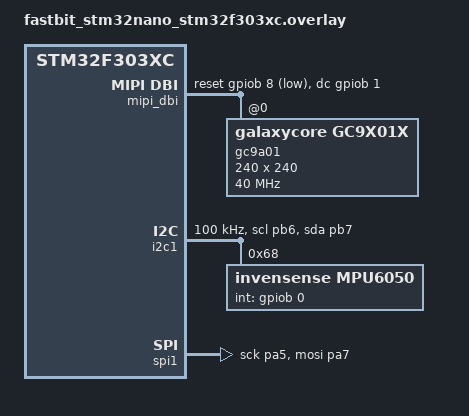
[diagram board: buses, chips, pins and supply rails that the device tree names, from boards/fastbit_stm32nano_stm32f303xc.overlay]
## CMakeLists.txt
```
#-------------------------------------------------------------------------------
# Zephyr Example Application
#
# Copyright (c) 2021 Nordic Semiconductor ASA
# SPDX-License-Identifier: Apache-2.0

cmake_minimum_required(VERSION 3.13.1)
find_package(Zephyr REQUIRED HINTS $ENV{ZEPHYR_BASE})

project(app LANGUAGES C)

target_sources(app PRIVATE
    src/main.c
    src/game.c
    src/display.c
    src/input.c
    src/util.c
)
```

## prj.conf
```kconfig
# Copyright (c) 2021 Nordic Semiconductor ASA
# SPDX-License-Identifier: Apache-2.0
#
# This file contains selected Kconfig options for the application.

CONFIG_UART_CONSOLE=y
CONFIG_STDOUT_CONSOLE=y

# Display stack
CONFIG_SPI=y
CONFIG_MIPI_DBI=y
CONFIG_GC9X01X=y
CONFIG_DISPLAY=y

# Sensor stack
CONFIG_I2C=y
CONFIG_SENSOR=y
CONFIG_MPU6050=y

# Logging
CONFIG_LOG=y
CONFIG_APP_LOG_LEVEL_INF=y

# Heap
CONFIG_HEAP_MEM_POOL_SIZE=2048

# Main thread stack — needs room for display/sensor calls
CONFIG_MAIN_STACK_SIZE=4096
```

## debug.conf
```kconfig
# Copyright (c) 2021 Nordic Semiconductor ASA
# SPDX-License-Identifier: Apache-2.0
#
# This is a Kconfig fragment which can be used to enable debug-related options
# in the application. See the README for more details.

# compiler
CONFIG_DEBUG_OPTIMIZATIONS=y

# logging
CONFIG_LOG=y
CONFIG_APP_LOG_LEVEL_DBG=y
CONFIG_SENSOR_LOG_LEVEL_DBG=y
```

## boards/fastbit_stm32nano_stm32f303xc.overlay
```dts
#include <zephyr/dt-bindings/display/panel.h>
#include <zephyr/dt-bindings/i2c/i2c.h>

&i2c1 {
	pinctrl-0 = <&i2c1_scl_pb6 &i2c1_sda_pb7>;
	pinctrl-names = "default";
	status = "okay";
	clock-frequency = <I2C_BITRATE_STANDARD>;

	mpu6050: mpu6050@68 {
		compatible = "invensense,mpu6050";
		reg = <0x68>;
		int-gpios = <&gpiob 0 GPIO_ACTIVE_HIGH>;
	};
};


&spi1 {
	pinctrl-0 = <&spi1_sck_pa5 &spi1_mosi_pa7>;
	pinctrl-names = "default";
	status = "okay";
	cs-gpios = <&gpioa 4 GPIO_ACTIVE_LOW>;
};

/ {
	chosen {
		zephyr,display = &gc9a01;
	};

	mipi_dbi: mipi-dbi {
		compatible = "zephyr,mipi-dbi-spi";
		spi-dev = <&spi1>;
		dc-gpios    = <&gpiob 1 GPIO_ACTIVE_HIGH>;
		reset-gpios = <&gpiob 8 GPIO_ACTIVE_LOW>;
		write-only;
		#address-cells = <1>;
		#size-cells = <0>;

		gc9a01: gc9a01@0 {
			compatible = "galaxycore,gc9x01x";
			reg = <0>;
			mipi-max-frequency = <DT_FREQ_M(40)>;
			pixel-format = <PANEL_PIXEL_FORMAT_RGB_565>;
			width  = <240>;
			height = <240>;
			display-inversion;
		};
	};
};
```

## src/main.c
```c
#include <zephyr/kernel.h>
#include <zephyr/logging/log.h>

#include "game.h"
#include "display.h"
#include "input.h"

LOG_MODULE_REGISTER(main, CONFIG_APP_LOG_LEVEL);

#define FRAME_MS             33   /* ~30 FPS */
#define LIFE_LOST_PAUSE_MS   1500
#define TITLE_DISPLAY_MS     2000

static void run_countdown(void)
{
    /* Draw digits below the title using the dedicated countdown slot so the
     * title text is never cleared or distorted. */
    display_draw_countdown("3");  k_msleep(1000);
    display_draw_countdown("2");  k_msleep(1000);
    display_draw_countdown("1");  k_msleep(1000);
    display_draw_countdown("GO"); k_msleep(600);
    display_clear_screen();
}

int main(void)
{
    LOG_INF("Brick Breaker starting");

    display_init();
    input_init();

    /* Title screen */
    display_draw_start_screen();
    k_msleep(TITLE_DISPLAY_MS);

    /* Countdown */
    run_countdown();

    /* Game setup */
    GameState gs;
    game_init(&gs);

    display_draw_all_bricks(gs.bricks);
    display_draw_score(gs.score, gs.lives);
    display_draw_paddle(gs.paddle.y, gs.paddle.y);
    display_draw_ball(gs.ball.x, gs.ball.y, gs.ball.x, gs.ball.y);

    int16_t old_ball_x   = gs.ball.x;
    int16_t old_ball_y   = gs.ball.y;
    int16_t old_paddle_y = gs.paddle.y;

    while (true) {
        int8_t delta = input_get_paddle_delta();
        GameEvent ev = game_update(&gs, delta);

        /* Redraw paddle if it moved */
        if (gs.paddle.y != old_paddle_y) {
            display_draw_paddle(gs.paddle.y, old_paddle_y);
            old_paddle_y = gs.paddle.y;
        }

        /* Redraw ball */
        display_draw_ball(gs.ball.x, gs.ball.y, old_ball_x, old_ball_y);
        old_ball_x = gs.ball.x;
        old_ball_y = gs.ball.y;

        switch (ev) {
        case EV_BRICK_HIT:
            display_draw_brick(gs.last_brick_row, gs.last_brick_col, false);
            display_draw_score(gs.score, gs.lives);
            break;

        case EV_LIFE_LOST:
            display_draw_score(gs.score, gs.lives);
            display_draw_message("READY");
            k_msleep(LIFE_LOST_PAUSE_MS);
            /* Clear message and redraw paddle/ball at reset positions */
            display_draw_message("     ");
            display_draw_paddle(gs.paddle.y, old_paddle_y);
            display_draw_ball(gs.ball.x, gs.ball.y, old_ball_x, old_ball_y);
            old_paddle_y = gs.paddle.y;
            old_ball_x   = gs.ball.x;
            old_ball_y   = gs.ball.y;
            gs.state = GAME_PLAYING;
            break;

        case EV_GAME_OVER:
            LOG_INF("Game over. Score: %d", gs.score);
            display_draw_end_screen(false, gs.score);
            k_sleep(K_FOREVER);
            break;

        case EV_GAME_WIN:
            LOG_INF("You win! Score: %d", gs.score);
            display_draw_end_screen(true, gs.score);
            k_sleep(K_FOREVER);
            break;

        default:
            break;
        }

        k_msleep(FRAME_MS);
    }

    return 0;
}
```

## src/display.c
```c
#include "display.h"
#include "util.h"

#include <zephyr/kernel.h>
#include <zephyr/drivers/display.h>
#include <zephyr/logging/log.h>
#include <string.h>

LOG_MODULE_REGISTER(display_mod, CONFIG_APP_LOG_LEVEL);

/* -------------------------------------------------------------------------
 * 5x7 pixel font — characters: 0-9, space, A-Z subset used for messages
 * Each entry is 5 bytes; bit 7 of byte 0 = top-left pixel.
 * Row order: byte[0]=row0 ... byte[4]=row6 (7 rows, 5 cols per row)
 * ------------------------------------------------------------------------- */
#define FONT_CHAR_W  5
#define FONT_CHAR_H  7
#define FONT_SCALE   2   /* render each pixel as 2x2 for readability */

static const uint8_t font5x7[][FONT_CHAR_W] = {
    /* 0 */ {0x7E, 0x51, 0x49, 0x45, 0x7E},
    /* 1 */ {0x00, 0x42, 0x7F, 0x40, 0x00},
    /* 2 */ {0x42, 0x61, 0x51, 0x49, 0x46},
    /* 3 */ {0x21, 0x41, 0x45, 0x4B, 0x31},
    /* 4 */ {0x18, 0x14, 0x12, 0x7F, 0x10},
    /* 5 */ {0x27, 0x45, 0x45, 0x45, 0x39},
    /* 6 */ {0x3C, 0x4A, 0x49, 0x49, 0x30},
    /* 7 */ {0x01, 0x71, 0x09, 0x05, 0x03},
    /* 8 */ {0x36, 0x49, 0x49, 0x49, 0x36},
    /* 9 */ {0x06, 0x49, 0x49, 0x29, 0x1E},
    /* ' ' (10) */ {0x00, 0x00, 0x00, 0x00, 0x00},
    /* A  (11) */ {0x7C, 0x12, 0x11, 0x12, 0x7C},
    /* E  (12) */ {0x7F, 0x49, 0x49, 0x49, 0x41},
    /* G  (13) */ {0x3E, 0x41, 0x49, 0x49, 0x7A},
    /* I  (14) */ {0x00, 0x41, 0x7F, 0x41, 0x00},
    /* M  (15) */ {0x7F, 0x02, 0x0C, 0x02, 0x7F},
    /* N  (16) */ {0x7F, 0x04, 0x08, 0x10, 0x7F},
    /* O  (17) */ {0x3E, 0x41, 0x41, 0x41, 0x3E},
    /* R  (18) */ {0x7F, 0x09, 0x19, 0x29, 0x46},
    /* S  (19) */ {0x46, 0x49, 0x49, 0x49, 0x31},
    /* U  (20) */ {0x3F, 0x40, 0x40, 0x40, 0x3F},
    /* V  (21) */ {0x1F, 0x20, 0x40, 0x20, 0x1F},
    /* W  (22) */ {0x3F, 0x40, 0x38, 0x40, 0x3F},
    /* Y  (23) */ {0x07, 0x08, 0x70, 0x08, 0x07},
    /* B  (24) */ {0x7F, 0x49, 0x49, 0x49, 0x36},
    /* C  (25) */ {0x3E, 0x41, 0x41, 0x41, 0x22},
    /* K  (26) */ {0x7F, 0x08, 0x14, 0x22, 0x41},
    /* D  (27) */ {0x7F, 0x41, 0x41, 0x41, 0x3E},
};

/* Map ASCII character to font table index, -1 if not available */
static int char_to_idx(char c)
{
    if (c >= '0' && c <= '9') return c - '0';
    switch (c) {
    case ' ': return 10;
    case 'A': return 11;
    case 'E': return 12;
    case 'G': return 13;
    case 'I': return 14;
    case 'M': return 15;
    case 'N': return 16;
    case 'O': return 17;
    case 'R': return 18;
    case 'S': return 19;
    case 'U': return 20;
    case 'V': return 21;
    case 'W': return 22;
    case 'Y': return 23;
    case 'B': return 24;
    case 'C': return 25;
    case 'K': return 26;
    case 'D': return 27;
    default:  return 10; /* space for unknown */
    }
}

/* -------------------------------------------------------------------------
 * Internal state
 * ------------------------------------------------------------------------- */
static const struct device *disp;

/* Static strip buffer: 240 px wide, 16 px tall, RGB565 (7680 bytes) */
#define STRIP_H   16
static uint8_t strip_buf[SCREEN_W * STRIP_H * 2];

/* -------------------------------------------------------------------------
 * fill_rect — write a solid colour rectangle to the display
 * Uses a small stack buffer for narrow rects, strip_buf for wide ones.
 * ------------------------------------------------------------------------- */
static void fill_rect(int16_t x, int16_t y, int16_t w, int16_t h,
                      uint16_t color)
{
    if (w <= 0 || h <= 0) {
        return;
    }

    /* For narrow rects use a static buffer (single-threaded display) */
    if ((uint32_t)w * h * 2 <= 1024U) {
        static uint8_t buf[1024];
        uint16_t be = ((color >> 8) & 0xFF) | ((color & 0xFF) << 8);

        for (int i = 0; i < w * h; i++) {
            buf[i * 2]     = (uint8_t)(be >> 8);
            buf[i * 2 + 1] = (uint8_t)(be & 0xFF);
        }

        struct display_buffer_descriptor desc = {
            .buf_size = (uint32_t)w * h * 2,
            .width    = w,
            .height   = h,
            .pitch    = w,
        };
        display_write(disp, x, y, &desc, buf);
        return;
    }

    /* For wider/taller rects render in STRIP_H-row strips */
    uint16_t be = ((color >> 8) & 0xFF) | ((color & 0xFF) << 8);
    for (int i = 0; i < w * STRIP_H; i++) {
        strip_buf[i * 2]     = (uint8_t)(be >> 8);
        strip_buf[i * 2 + 1] = (uint8_t)(be & 0xFF);
    }

    int16_t rows_done = 0;
    while (rows_done < h) {
        int16_t rows = (h - rows_done < STRIP_H) ? (h - rows_done) : STRIP_H;
        struct display_buffer_descriptor desc = {
            .buf_size = (uint32_t)w * rows * 2,
            .width    = w,
            .height   = rows,
            .pitch    = w,
        };
        display_write(disp, x, y + rows_done, &desc, strip_buf);
        rows_done += rows;
    }
}

/* -------------------------------------------------------------------------
 * Public API
 * ------------------------------------------------------------------------- */

void display_init(void)
{
    disp = DEVICE_DT_GET(DT_CHOSEN(zephyr_display));
    if (!device_is_ready(disp)) {
        LOG_ERR("Display not ready");
        return;
    }
    display_blanking_off(disp);
    LOG_INF("Display ready");
}

void display_clear_screen(void)
{
    fill_rect(0, 0, SCREEN_W, SCREEN_H, COLOR_BLACK);
}

void display_draw_brick(int row, int col, bool active)
{
    int16_t x = BRICK_LEFT_X + col * (BRICK_W + BRICK_GAP);
    int16_t y = BRICK_TOP_Y  + row * (BRICK_H + BRICK_GAP);
    uint16_t color = active ? brick_row_color(row) : COLOR_BLACK;
    fill_rect(x, y, BRICK_W, BRICK_H, color);
}

void display_draw_all_bricks(const Brick bricks[BRICK_ROWS][BRICK_COLS])
{
    for (int r = 0; r < BRICK_ROWS; r++) {
        for (int c = 0; c < BRICK_COLS; c++) {
            display_draw_brick(r, c, bricks[r][c].active);
        }
    }
}

void display_draw_paddle(int16_t y, int16_t old_y)
{
    /* Erase old position, draw new position (paddle is vertical, fixed at PADDLE_X) */
    fill_rect(PADDLE_X, old_y, PADDLE_W, PADDLE_H, COLOR_BLACK);
    fill_rect(PADDLE_X, y,     PADDLE_W, PADDLE_H, COLOR_WHITE);
}

void display_draw_ball(int16_t x, int16_t y, int16_t old_x, int16_t old_y)
{
    /* Erase old position, clipped so it never overwrites the score bar */
    int16_t ey = (old_y < SCORE_BAR_H) ? SCORE_BAR_H : old_y;
    int16_t eh = BALL_H - (ey - old_y);
    if (eh > 0) {
        fill_rect(old_x, ey, BALL_W, eh, COLOR_BLACK);
    }
    fill_rect(x, y, BALL_W, BALL_H, COLOR_YELLOW);
}

/* Draw a single character at pixel position (px, py) in given colour.
 * Font encoding: each byte is a column (col 0 = leftmost), bit 0 = top row. */
static void draw_char(int16_t px, int16_t py, char c, uint16_t color)
{
    int idx = char_to_idx(c);

    for (int row = 0; row < FONT_CHAR_H; row++) {
        for (int col = 0; col < FONT_CHAR_W; col++) {
            if (font5x7[idx][col] & (1 << row)) {
                fill_rect(px + col * FONT_SCALE,
                          py + row * FONT_SCALE,
                          FONT_SCALE, FONT_SCALE, color);
            }
        }
    }
}

void display_draw_score(uint16_t score, uint8_t lives)
{
    /* Clear score bar content (separator at the bottom is redrawn below) */
    fill_rect(0, 0, SCREEN_W, SCORE_BAR_H - 2, COLOR_BLACK);

    /* 1.28" GC9A01: at cy=28 the circle is ~154 px wide (x≈43..197).
     * Layout uses x=44..164 for "SCORE XXXX" and x=166..194 for life dots.
     * Even with a 4-digit score the text ends at x=164, lives start at x=166. */
    int16_t cy = 28;
    int16_t cx = 44;
    int char_step = (FONT_CHAR_W + 1) * FONT_SCALE;

    /* Draw "SCORE " label */
    const char label[] = "SCORE ";
    for (int i = 0; label[i] != '\0'; i++) {
        draw_char(cx, cy, label[i], COLOR_WHITE);
        cx += char_step;
    }

    /* Draw up to 4 digits, skip leading zeros except the last */
    char buf[5];
    buf[0] = '0' + (score / 1000) % 10;
    buf[1] = '0' + (score /  100) % 10;
    buf[2] = '0' + (score /   10) % 10;
    buf[3] = '0' + (score       ) % 10;
    buf[4] = '\0';

    int start = 0;
    while (start < 3 && buf[start] == '0') {
        start++;
    }
    for (int i = start; i < 4; i++) {
        draw_char(cx, cy, buf[i], COLOR_WHITE);
        cx += char_step;
    }

    /* Life dots: 3 × 8-px squares at x=166, 177, 188.
     * Rightmost pixel x=195 < circle right-edge 197 at y=28.  */
    for (int i = 0; i < lives && i < INIT_LIVES; i++) {
        fill_rect(166 + i * 11, cy, 8, 8, COLOR_GREEN);
    }
    for (int i = lives; i < INIT_LIVES; i++) {
        fill_rect(166 + i * 11, cy, 8, 8, COLOR_BLACK);
    }

    /* 2-pixel white separator — clear boundary between score bar and game area */
    fill_rect(0, SCORE_BAR_H - 2, SCREEN_W, 2, COLOR_WHITE);
}

/* Draw message centered horizontally at a given y, in given colour.
 * Clears a band around the text first. */
static void draw_message_at(const char *msg, int16_t cy, uint16_t color)
{
    int len = 0;
    for (const char *p = msg; *p; p++) len++;

    int char_step = (FONT_CHAR_W + 1) * FONT_SCALE;
    int total_w   = len * char_step;
    int total_h   = FONT_CHAR_H * FONT_SCALE;

    int16_t band_y = cy - 4;
    fill_rect(0, band_y, SCREEN_W, total_h + 8, COLOR_BLACK);

    int16_t cx = (SCREEN_W - total_w) / 2;

    for (int i = 0; i < len; i++) {
        draw_char(cx + i * char_step, cy, msg[i], color);
    }
}

void display_draw_message(const char *msg)
{
    int total_h = FONT_CHAR_H * FONT_SCALE;
    draw_message_at(msg, SCREEN_H / 2 - total_h / 2, COLOR_YELLOW);
}

/* -------------------------------------------------------------------------
 * display_draw_countdown — draw a single digit/label (e.g. "3", "GO") at a
 * fixed position BELOW the title so it never overwrites the game name.
 * Clears only its own band; the title remains intact.
 * ------------------------------------------------------------------------- */
void display_draw_countdown(const char *s)
{
    /* y=158 is well below the title band (y=104..122) and inside the safe
     * circular arc (visible x ≈ 12..228 at that row). */
    int16_t cy = 158;

    int len = 0;
    for (const char *p = s; *p; p++) len++;

    int char_step = (FONT_CHAR_W + 1) * FONT_SCALE;
    int total_w   = len * char_step;
    int total_h   = FONT_CHAR_H * FONT_SCALE;

    /* Clear only this band */
    fill_rect(0, cy - 4, SCREEN_W, total_h + 8, COLOR_BLACK);

    int16_t cx = (SCREEN_W - total_w) / 2;
    for (int i = 0; i < len; i++) {
        draw_char(cx + i * char_step, cy, s[i], COLOR_YELLOW);
    }
}

void display_draw_start_screen(void)
{
    display_clear_screen();

    /* Score bar separator so the landscape layout is clear from the first frame */
    fill_rect(0, SCORE_BAR_H - 2, SCREEN_W, 2, COLOR_WHITE);

    /* Single wide title line — spans horizontally for a landscape feel.
     * At y=108 the circle is almost full-width (~239 px visible),
     * easily fitting "BRICK BREAKER" (13 chars × 12 px = 156 px). */
    draw_message_at("BRICK BREAKER", 108, COLOR_YELLOW);

    /* y=158 is reserved for the countdown digits drawn by display_draw_countdown() */
}

void display_draw_end_screen(bool won, uint16_t score)
{
    display_clear_screen();

    /* Separator mirrors the in-game landscape layout */
    fill_rect(0, SCORE_BAR_H - 2, SCREEN_W, 2, COLOR_WHITE);

    /* Result centred around y=120 (widest circle row) so the circular
     * boundary does not clip either text line.
     * "GAME OVER" (9 ch) = 108 px; "YOU WIN" (7 ch) = 84 px — both fit. */
    if (won) {
        draw_message_at("YOU WIN",   108, COLOR_GREEN);
    } else {
        draw_message_at("GAME OVER", 108, COLOR_RED);
    }

    /* Build "SCORE XXXX" string */
    char buf[12];
    uint16_t s = score;
    int pos = 0;
    buf[pos++] = 'S';
    buf[pos++] = 'C';
    buf[pos++] = 'O';
    buf[pos++] = 'R';
    buf[pos++] = 'E';
    buf[pos++] = ' ';

    /* Up to 4 digits, skip leading zeros except last */
    char digits[4];
    digits[0] = '0' + (s / 1000) % 10;
    digits[1] = '0' + (s /  100) % 10;
    digits[2] = '0' + (s /   10) % 10;
    digits[3] = '0' + (s       ) % 10;
    int start = 0;
    while (start < 3 && digits[start] == '0') {
        start++;
    }
    for (int i = start; i < 4; i++) {
        buf[pos++] = digits[i];
    }
    buf[pos] = '\0';

    draw_message_at(buf, 132, COLOR_WHITE);
}
```

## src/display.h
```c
#ifndef DISPLAY_H
#define DISPLAY_H

#include <stdint.h>
#include "game.h"

void display_init(void);
void display_clear_screen(void);
void display_draw_all_bricks(const Brick bricks[BRICK_ROWS][BRICK_COLS]);
void display_draw_brick(int row, int col, bool active);
void display_draw_paddle(int16_t y, int16_t old_y);
void display_draw_ball(int16_t x, int16_t y, int16_t old_x, int16_t old_y);
void display_draw_score(uint16_t score, uint8_t lives);
void display_draw_message(const char *msg);
void display_draw_countdown(const char *s);
void display_draw_start_screen(void);
void display_draw_end_screen(bool won, uint16_t score);

#endif /* DISPLAY_H */
```

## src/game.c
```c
#include "game.h"
#include <string.h>

static void reset_ball_and_paddle(GameState *gs)
{
    gs->ball.x  = BALL_INIT_X;
    gs->ball.y  = BALL_INIT_Y;
    gs->ball.vx = BALL_INIT_VX;
    gs->ball.vy = BALL_INIT_VY;
    gs->paddle.y = PADDLE_INIT_Y;
}

static bool all_bricks_cleared(const GameState *gs)
{
    for (int r = 0; r < BRICK_ROWS; r++) {
        for (int c = 0; c < BRICK_COLS; c++) {
            if (gs->bricks[r][c].active) {
                return false;
            }
        }
    }
    return true;
}

void game_init(GameState *gs)
{
    memset(gs, 0, sizeof(*gs));
    for (int r = 0; r < BRICK_ROWS; r++) {
        for (int c = 0; c < BRICK_COLS; c++) {
            gs->bricks[r][c].active = true;
        }
    }
    gs->lives = INIT_LIVES;
    gs->score = 0;
    gs->state = GAME_PLAYING;
    gs->last_brick_row = -1;
    gs->last_brick_col = -1;
    reset_ball_and_paddle(gs);
}

GameEvent game_update(GameState *gs, int8_t paddle_delta)
{
    if (gs->state == GAME_OVER || gs->state == GAME_WIN) {
        return EV_NONE;
    }

    /* --- Move paddle (up/down) --- */
    gs->paddle.y += paddle_delta;
    if (gs->paddle.y < SCORE_BAR_H) {
        gs->paddle.y = SCORE_BAR_H;
    }
    if (gs->paddle.y > SCREEN_H - PADDLE_H) {
        gs->paddle.y = SCREEN_H - PADDLE_H;
    }

    /* --- Move ball --- */
    gs->ball.x += gs->ball.vx;
    gs->ball.y += gs->ball.vy;

    /* --- Wall collisions (left, top, bottom) --- */
    if (gs->ball.x <= 0) {
        gs->ball.x = 0;
        gs->ball.vx = -gs->ball.vx;
    }
    /* Top wall is the bottom edge of the score bar, not the raw screen top */
    if (gs->ball.y <= SCORE_BAR_H) {
        gs->ball.y = SCORE_BAR_H;
        gs->ball.vy = -gs->ball.vy;
    }
    if (gs->ball.y + BALL_H >= SCREEN_H) {
        gs->ball.y = SCREEN_H - BALL_H;
        gs->ball.vy = -gs->ball.vy;
    }

    /* --- Paddle collision (right side, vertical paddle) --- */
    bool ball_at_paddle = (gs->ball.x + BALL_W >= PADDLE_X) &&
                          (gs->ball.x + BALL_W <= PADDLE_X + PADDLE_W + 2);
    bool ball_in_paddle = (gs->ball.y + BALL_H > gs->paddle.y) &&
                          (gs->ball.y < gs->paddle.y + PADDLE_H);

    if (ball_at_paddle && ball_in_paddle && gs->ball.vx > 0) {
        gs->ball.vx = -gs->ball.vx;
        /* Nudge vertical velocity based on hit offset from paddle centre */
        int16_t hit_offset = (gs->ball.y + BALL_H / 2) -
                             (gs->paddle.y + PADDLE_H / 2);
        gs->ball.vy = hit_offset / 8;
        if (gs->ball.vy >  4) gs->ball.vy =  4;
        if (gs->ball.vy < -4) gs->ball.vy = -4;
        if (gs->ball.vy ==  0) gs->ball.vy = 1;
        /* Push ball clear of the paddle face */
        gs->ball.x = PADDLE_X - BALL_W - 1;
    }

    /* --- Brick collisions --- */
    for (int r = 0; r < BRICK_ROWS; r++) {
        for (int c = 0; c < BRICK_COLS; c++) {
            if (!gs->bricks[r][c].active) {
                continue;
            }

            int16_t bx = BRICK_LEFT_X + c * (BRICK_W + BRICK_GAP);
            int16_t by = BRICK_TOP_Y  + r * (BRICK_H + BRICK_GAP);

            bool overlap_x = (gs->ball.x + BALL_W > bx) &&
                             (gs->ball.x < bx + BRICK_W);
            bool overlap_y = (gs->ball.y + BALL_H > by) &&
                             (gs->ball.y < by + BRICK_H);

            if (overlap_x && overlap_y) {
                gs->bricks[r][c].active = false;
                /* Horizontal bounce: ball mainly travels left-right */
                gs->ball.vx = -gs->ball.vx;
                gs->score += SCORE_PER_BRICK;
                gs->last_brick_row = r;
                gs->last_brick_col = c;

                if (all_bricks_cleared(gs)) {
                    gs->state = GAME_WIN;
                    return EV_GAME_WIN;
                }
                return EV_BRICK_HIT;
            }
        }
    }

    /* --- Ball out of bounds: passed the paddle on the right --- */
    if (gs->ball.x > PADDLE_X + PADDLE_W) {
        gs->lives--;
        if (gs->lives == 0) {
            gs->state = GAME_OVER;
            return EV_GAME_OVER;
        }
        gs->state = GAME_LIFE_LOST;
        reset_ball_and_paddle(gs);
        return EV_LIFE_LOST;
    }

    return EV_NONE;
}
```

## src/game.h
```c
#ifndef GAME_H
#define GAME_H

#include <stdint.h>
#include <stdbool.h>

/* Screen */
#define SCREEN_W  240
#define SCREEN_H  240

/* Score bar (top strip)
 * 1.28" GC9A01 round display: at y=28 the circle is ~154 px wide (x=43..197),
 * wide enough for "SCORE XXXX" + life dots without hitting the circular edge. */
#define SCORE_BAR_H  46

/* Paddle: right side, moves vertically.
 * At y=46 (top of travel) the circle right-edge is x≈209.
 * PADDLE_X=200, PADDLE_W=8 → rightmost pixel x=207 < 209. Always visible. */
#define PADDLE_W        8
#define PADDLE_H        50
#define PADDLE_X        200
#define PADDLE_INIT_Y   ((SCREEN_H / 2) - (PADDLE_H / 2))

/* Ball */
#define BALL_W    8
#define BALL_H    8
#define BALL_INIT_X  (PADDLE_X - BALL_W - 2)
#define BALL_INIT_Y  (PADDLE_INIT_Y + (PADDLE_H / 2) - (BALL_H / 2))
#define BALL_INIT_VX (-3)
#define BALL_INIT_VY   2

/* Bricks: left side, 5 rows x 4 cols.
 * BRICK_LEFT_X=30: at y=46 the circle left-edge is x≈30 — just inside.
 * BRICK_ROWS=5: bottom of last row is y≈212 where circle is still ~162 px wide;
 *   row 6 (old y=206–240) had <100 px visible width — removed to avoid clipping. */
#define BRICK_COLS     4
#define BRICK_ROWS     5
#define BRICK_W        28
#define BRICK_H        30
#define BRICK_GAP      4
#define BRICK_TOP_Y    SCORE_BAR_H
#define BRICK_LEFT_X   30

/* Scoring */
#define SCORE_PER_BRICK  10
#define INIT_LIVES       3

typedef enum {
    GAME_READY,
    GAME_PLAYING,
    GAME_LIFE_LOST,
    GAME_OVER,
    GAME_WIN,
} GameStateEnum;

typedef enum {
    EV_NONE,
    EV_BRICK_HIT,    /* brick_col / brick_row set in GameState */
    EV_SCORE_CHANGED,
    EV_LIFE_LOST,
    EV_GAME_OVER,
    EV_GAME_WIN,
} GameEvent;

typedef struct {
    int16_t x, y;
    int16_t vx, vy;
} Ball;

typedef struct {
    int16_t y;   /* vertical position; x is fixed at PADDLE_X */
} Paddle;

typedef struct {
    bool active;
} Brick;

typedef struct {
    Ball          ball;
    Paddle        paddle;
    Brick         bricks[BRICK_ROWS][BRICK_COLS];
    uint8_t       lives;
    uint16_t      score;
    GameStateEnum state;

    /* Set by game_update() when EV_BRICK_HIT */
    int8_t last_brick_row;
    int8_t last_brick_col;
} GameState;

/* Public API */
void       game_init(GameState *gs);
GameEvent  game_update(GameState *gs, int8_t paddle_delta);

#endif /* GAME_H */
```

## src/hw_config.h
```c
/*
 * hw_config.h — Hardware configuration for the tilt brick-breaker game.
 *
 * Edit this file to match your physical board setup.
 * No other source files need to be touched for hardware personalisation.
 */

#ifndef HW_CONFIG_H
#define HW_CONFIG_H

#include <zephyr/drivers/sensor.h>

/* -----------------------------------------------------------------------
 * TILT AXIS
 *
 * Choose which accelerometer axis controls the paddle.
 * The game is landscape: paddle is on the RIGHT and moves UP/DOWN.
 *
 * Device is tilted around the Y axis (pitch — nose up / nose down).
 * Pitch puts gravity onto the X accelerometer axis, so use ACCEL_X.
 *
 *   SENSOR_CHAN_ACCEL_X  —  pitch (nose-up/nose-down, tilt around Y axis)
 *                           → moves paddle up/down (correct for this board)
 *
 *   SENSOR_CHAN_ACCEL_Y  —  roll (lean left/right, tilt around X axis)
 *                           → use only if the board is mounted differently
 * ----------------------------------------------------------------------- */
#define HW_TILT_AXIS        SENSOR_CHAN_ACCEL_X

/* -----------------------------------------------------------------------
 * INVERT TILT DIRECTION
 *
 *   0  —  tilt right → paddle moves right  (default)
 *   1  —  tilt right → paddle moves left   (mirror if axis is reversed)
 * ----------------------------------------------------------------------- */
#define HW_TILT_INVERT      0

/* -----------------------------------------------------------------------
 * DEAD ZONE  (m/s²)
 *
 * Accelerometer readings whose absolute value is below this threshold
 * are treated as "no tilt" to prevent paddle drift when the device is
 * resting flat on a surface.  Raise this if your board is noisy.
 * ----------------------------------------------------------------------- */
#define HW_DEAD_ZONE_MS2    0.5

/* -----------------------------------------------------------------------
 * PADDLE SPEED FACTOR
 *
 * Multiplied against the raw acceleration (m/s²) to produce the pixel
 * delta per game tick.  Increase for a faster paddle.
 * ----------------------------------------------------------------------- */
#define HW_PADDLE_SPEED     3.0

/* -----------------------------------------------------------------------
 * PADDLE DELTA CLAMP  (pixels per tick)
 *
 * Maximum pixels the paddle can move in a single game tick regardless of
 * how hard the device is tilted.
 * ----------------------------------------------------------------------- */
#define HW_PADDLE_MAX_DELTA 8

#endif /* HW_CONFIG_H */
```

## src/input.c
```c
#include "input.h"
#include "hw_config.h"

#include <zephyr/kernel.h>
#include <zephyr/drivers/sensor.h>
#include <zephyr/logging/log.h>

LOG_MODULE_REGISTER(input, CONFIG_APP_LOG_LEVEL);

static const struct device *mpu;

void input_init(void)
{
    mpu = DEVICE_DT_GET_ONE(invensense_mpu6050);
    if (!device_is_ready(mpu)) {
        LOG_ERR("MPU6050 not ready");
        mpu = NULL;
    } else {
        LOG_INF("MPU6050 ready");
    }
}

int8_t input_get_paddle_delta(void)
{
    if (mpu == NULL) {
        return 0;
    }

    struct sensor_value accel;

    if (sensor_sample_fetch(mpu) < 0) {
        return 0;
    }

    if (sensor_channel_get(mpu, HW_TILT_AXIS, &accel) < 0) {
        return 0;
    }

    float tilt = (float)sensor_value_to_double(&accel);

    LOG_DBG("tilt (axis %d): %d.%06d", HW_TILT_AXIS, accel.val1, accel.val2);

    if (tilt > -HW_DEAD_ZONE_MS2 && tilt < HW_DEAD_ZONE_MS2) {
        return 0;
    }

#if HW_TILT_INVERT
    tilt = -tilt;
#endif

    int8_t delta = (int8_t)(tilt * HW_PADDLE_SPEED);

    if (delta >  HW_PADDLE_MAX_DELTA) delta =  HW_PADDLE_MAX_DELTA;
    if (delta < -HW_PADDLE_MAX_DELTA) delta = -HW_PADDLE_MAX_DELTA;

    return delta;
}
```

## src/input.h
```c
#ifndef INPUT_H
#define INPUT_H

#include <stdint.h>

void   input_init(void);
int8_t input_get_paddle_delta(void);

#endif /* INPUT_H */
```

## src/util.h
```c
#ifndef UTIL_H
#define UTIL_H

#include <stdint.h>

/* RGB565 color helpers */
#define RGB565(r, g, b) \
    ((uint16_t)(((r) & 0x1F) << 11) | (((g) & 0x3F) << 5) | ((b) & 0x1F))

#define COLOR_BLACK   0x0000
#define COLOR_WHITE   0xFFFF
#define COLOR_YELLOW  RGB565(31, 63, 0)
#define COLOR_RED     RGB565(31, 0, 0)
#define COLOR_GREEN   RGB565(0, 63, 0)
#define COLOR_BLUE    RGB565(0, 0, 31)
#define COLOR_CYAN    RGB565(0, 63, 31)
#define COLOR_MAGENTA RGB565(31, 0, 31)
#define COLOR_ORANGE  RGB565(31, 40, 0)

/* Brick row colors */
static inline uint16_t brick_row_color(int row)
{
    switch (row) {
    case 0: return COLOR_RED;
    case 1: return COLOR_ORANGE;
    case 2: return COLOR_GREEN;
    case 3: return COLOR_CYAN;
    default: return COLOR_WHITE;
    }
}

#endif /* UTIL_H */
```
